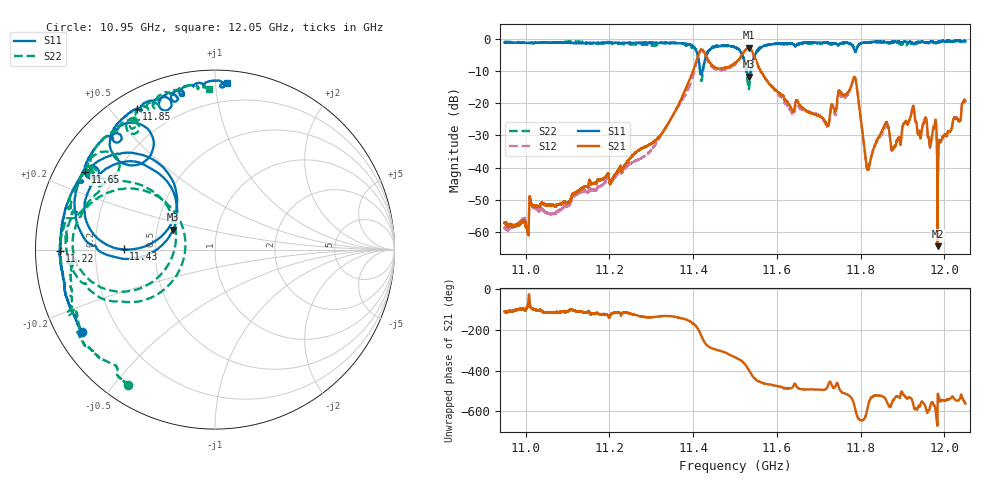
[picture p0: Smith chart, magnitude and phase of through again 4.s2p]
!Agilent Technologies,E8362C,MY49020356,A.09.42.23
!Agilent E8362C: A.09.42.23
!Date: Saturday, September 11, 2021 04:24:44
!Correction: S11(Full 2 Port(1,2))
!S21(Full 2 Port(1,2))
!S12(Full 2 Port(1,2))
!S22(Full 2 Port(1,2))
!S2P File: Measurements: S11, S21, S12, S22:
# Hz S  MA  R 50
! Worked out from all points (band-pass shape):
!   32001 points, 10.95 GHz to 12.05 GHz, reference 50 ohm
!   highest |S21| = -2.75 dB at 11.53 GHz (marker M1); lowest = -64.4 dB at 11.98 GHz (marker M2)
!   |S21| within 3 dB of the highest: 11.41055 GHz to 11.43276 GHz (22.21 MHz wide, 0.194 % of centre); 11.5129 GHz to 11.54691 GHz (34.01 MHz wide, 0.295 % of centre)
!   lowest |S11| = -11.8 dB at 11.53 GHz (marker M3), VSWR 1.69, Z = 30.5 + j7.26 ohm
!   |S11| at or under -10 dB: 11.41747 GHz to 11.42256 GHz (5.092 MHz wide, 0.0446 % of centre); 11.52819 GHz to 11.53693 GHz (8.741 MHz wide, 0.0758 % of centre)
!   |S22| runs from -15.6 to -0.6 dB; largest |S21 - S12| = 0.059
!   S11 on the Smith chart (normalised r, x): 10.95 GHz: 0.07, -0.28; 11.22 GHz: 0.07, -0.01; 11.43 GHz: 0.33, +0.00; 11.65 GHz: 0.09, +0.27; 11.85 GHz: 0.07, +0.59; 12.05 GHz: 0.08, +1.07
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1.095e10  0.873 -148.1  0.001407 -109.3  0.001165 -111.0  0.8949 -122.8
1.113336e10  0.8588 -169.1  0.004741 -110.9  0.004199 -119.5  0.8959 -147.3
1.121754e10  0.8649 -179.4  0.00838 -115.2  0.007609 -120.2  0.8408 -161.7
1.131668e10  0.8635 166.5  0.02903 -134.5  0.02654 -125.9  0.807 -175.0
1.140715e10  0.661 127.3  0.439 178.0  0.4007 -179.8  0.6617 144.8
1.14197e10  0.2833 148.8  0.6807 130.3  0.6716 128.3  0.2228 169.7
1.142988e10  0.5084 179.8  0.5625 91.5  0.5274 88.1  0.5271 -154.1
1.15e10  0.7397 140.9  0.4199 25.5  0.3993 27.7  0.7409 160.0
1.153235e10  0.2579 154.3  0.7287 -34.2  0.7152 -36.2  0.1667 171.7
1.153238e10  0.2573 154.4  0.7281 -34.3  0.7157 -36.3  0.1666 172.3
1.155748e10  0.6846 178.0  0.3567 -93.7  0.3423 -94.3  0.717 -160.1
1.165225e10  0.843 149.1  0.09807 -128.4  0.08767 -125.6  0.822 164.5
1.168336e10  0.8726 141.9  0.06963 -132.1  0.0721 -129.8  0.8548 162.7
1.172055e10  0.8713 133.8  0.04494 -121.2  0.04189 -124.5  0.8486 149.2
1.178459e10  0.6698 120.7  0.2538 152.3  0.2475 152.8  0.7192 137.8
1.181646e10  0.8867 127.9  0.00935 135.0  0.009301 136.1  0.8752 140.2
1.185465e10  0.8968 119.1  0.04132 -169.3  0.03737 -169.8  0.8704 131.3
1.186668e10  0.8756 118.2  0.04137 150.0  0.03765 152.5  0.8561 129.3
1.187861e10  0.9026 116.6  0.02042 177.1  0.01959 -179.5  0.8719 127.5
1.192398e10  0.8607 106.5  0.08655 168.7  0.0876 168.7  0.8503 121.9
1.198359e10  0.8908 102.7  0.0006018 118.0  0.0007401 133.7  0.8885 112.3
1.205e10  0.9282 85.8  0.107 156.9  0.1095 154.9  0.8881 92.0
